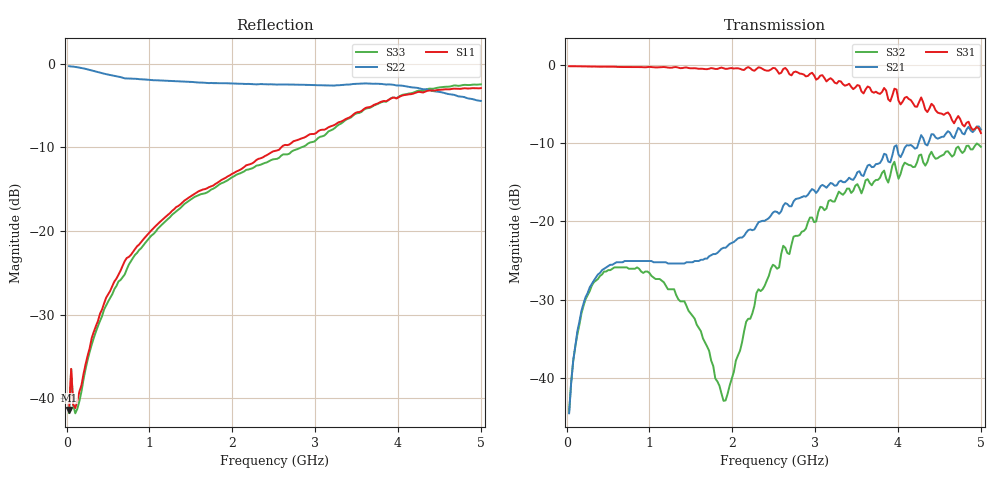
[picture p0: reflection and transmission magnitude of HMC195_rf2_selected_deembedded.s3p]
!Hittite Microwave Corporation
!12 Elizabeth Drive
!Chelmsford, MA 01824
!Tel: 978-250-3343
!Fax: 978-250-3373
!Device: HMC195, DC-2.5 GHz GaAS MMIC T/R switch in SOT26 package
!Misc: Port1 = RFCom, Port2 = RF1, Port3=RF2, RF2 selected
# MHZ S MA R 50
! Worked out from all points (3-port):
!   201 points, 30 MHz to 5 GHz, reference 50 ohm
!   strongest paths, dB at 30 MHz, 1.272 GHz, 2.515 GHz, 3.757 GHz, 5 GHz:
!     S31: -0.2, -0.4, -0.5, -3.6, -8.7
!     S21: -44.4, -25.4, -18.7, -12.7, -8.3
!     S32: -44.2, -28.6, -25.7, -14.7, -10.5
!   lowest |S11| = -41.4 dB at 30 MHz (marker M1), VSWR 1.02, Z = 49.9 - j0.851 ohm
!   |S11| at or under -10 dB: start of sweep to 2.59 GHz
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30  0.00854 -94.0  0.006033 45.9  0.973 0.3
    0.005997 46.3  0.966 -8.6  0.006007 47.5
    0.975 0.2  0.006139 46.7  0.008174 -93.5
54.85  0.015 -89.3  0.009467 63.2  0.975 0.4
       0.009436 63.7  0.962 -14.9  0.009315 63.1
       0.975 0.4  0.009458 62.8  0.015 -89.2
129.4  0.009689 -83.7  0.02 68.3  0.975 -0.5
       0.02 68.5  0.952 -34.3  0.019 64.4
       0.974 -0.5  0.019 64.0  0.008667 -87.0
328.2  0.025 -83.8  0.042 58.2  0.971 -0.7
       0.042 58.1  0.904 -78.8  0.041 48.9
       0.971 -0.8  0.041 49.0  0.023 -91.2
850.05  0.081 -103.7  0.058 49.6  0.964 -0.8
        0.056 50.0  0.811 -146.3  0.05 24.5
        0.964 -0.8  0.051 24.3  0.074 -107.7
1421.6  0.152 -126.0  0.056 70.5  0.958 -1.3
        0.054 71.4  0.782 175.1  0.031 18.6
        0.956 -1.4  0.031 18.8  0.145 -120.2
1893.75  0.205 -150.4  0.065 99.0  0.946 -2.3
         0.068 99.2  0.766 151.9  0.007411 81.0
         0.947 -2.4  0.007202 80.8  0.195 -132.6
2515  0.301 173.6  0.114 116.2  0.94 -6.1
      0.116 119.0  0.75 126.1  0.053 163.3
      0.948 -7.0  0.052 158.1  0.269 -164.1
3285.35  0.447 148.1  0.176 125.1  0.795 -13.1
         0.179 128.4  0.743 104.7  0.153 154.0
         0.785 -11.2  0.155 154.6  0.432 161.5
5000  0.714 101.8  0.402 125.8  0.381 -10.3
      0.385 123.9  0.599 76.9  0.311 136.5
      0.366 -12.3  0.299 135.6  0.752 123.6
